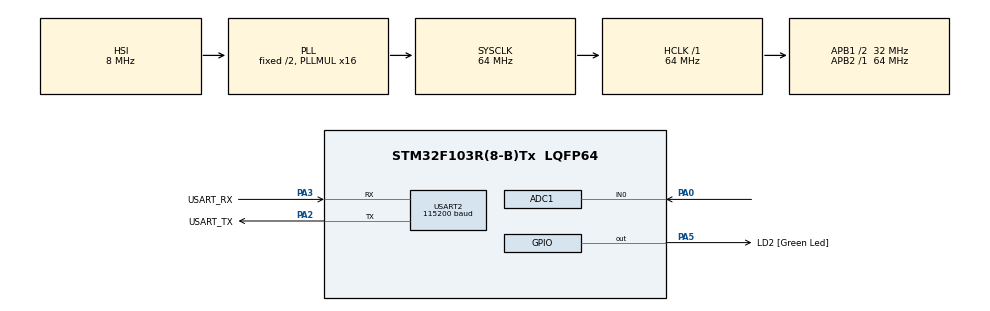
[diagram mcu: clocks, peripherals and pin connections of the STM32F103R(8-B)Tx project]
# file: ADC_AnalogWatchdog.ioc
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ADC1.AWDChannel=ADC_CHANNEL_0
ADC1.AnalogWDGITMode=ENABLE
ADC1.AnalogWatchdogMode=ADC_ANALOGWATCHDOG_SINGLE_REG
ADC1.Channel-0\#ChannelRegularConversion=ADC_CHANNEL_0
ADC1.ContinuousConvMode=ENABLE
ADC1.DiscontinuousConvMode=DISABLE
ADC1.ExternalTrigConv=ADC_SOFTWARE_START
ADC1.HighThreshold=3000
ADC1.LowThreshold=1000
ADC1.NbrOfConversion=1
ADC1.NbrOfConversionFlag=1
ADC1.Rank-0\#ChannelRegularConversion=1
ADC1.SamplingTime-0\#ChannelRegularConversion=ADC_SAMPLETIME_239CYCLES_5
ADC1.ScanConvMode=ADC_SCAN_DISABLE
ADC1.master=1
Dma.ADC1.0.Direction=DMA_PERIPH_TO_MEMORY
Dma.ADC1.0.Instance=DMA1_Channel1
Dma.ADC1.0.MemDataAlignment=DMA_MDATAALIGN_HALFWORD
Dma.ADC1.0.MemInc=DMA_MINC_DISABLE
Dma.ADC1.0.Mode=DMA_CIRCULAR
Dma.ADC1.0.PeriphDataAlignment=DMA_PDATAALIGN_HALFWORD
Dma.ADC1.0.PeriphInc=DMA_PINC_DISABLE
Dma.ADC1.0.Priority=DMA_PRIORITY_LOW
Dma.Request0=ADC1
Mcu.Family=STM32F1
Mcu.Name=STM32F103R(8-B)Tx
Mcu.Package=LQFP64
NVIC.ADC1_2_IRQn=true\:1\:0\:false\:false\:true\:true\:true\:true
NVIC.PriorityGroup=NVIC_PRIORITYGROUP_4
PA0-WKUP.Mode=IN0
PA0-WKUP.Signal=ADCx_IN0
PA13.GPIO_Label=TMS
PA13.Mode=Serial_Wire
PA13.Signal=SYS_JTMS-SWDIO
PA14.GPIO_Label=TCK
PA14.Mode=Serial_Wire
PA14.Signal=SYS_JTCK-SWCLK
PA2.GPIO_Label=USART_TX
PA2.GPIO_Mode=GPIO_MODE_AF_PP
PA2.GPIO_PuPd=GPIO_NOPULL
PA2.GPIO_Speed=GPIO_SPEED_FREQ_LOW
PA2.Mode=Asynchronous
PA2.Signal=USART2_TX
PA3.GPIO_Label=USART_RX
PA3.GPIO_PuPd=GPIO_NOPULL
PA3.GPIO_Speed=GPIO_SPEED_FREQ_LOW
PA3.Mode=Asynchronous
PA3.Signal=USART2_RX
PA5.GPIO_Label=LD2 [Green Led]
PA5.GPIO_ModeDefaultOutputPP=GPIO_MODE_OUTPUT_PP
PA5.GPIO_PuPd=GPIO_NOPULL
PA5.GPIO_Speed=GPIO_SPEED_FREQ_LOW
PA5.Signal=GPIO_Output
PB3.GPIO_Label=SWO
PB3.Signal=SYS_JTDO-TRACESWO
PC14-OSC32_IN.Mode=LSE-External-Oscillator
PC14-OSC32_IN.Signal=RCC_OSC32_IN
PC15-OSC32_OUT.Mode=LSE-External-Oscillator
PC15-OSC32_OUT.Signal=RCC_OSC32_OUT
PD0-OSC_IN.Mode=HSE-External-Clock-Source
PD0-OSC_IN.Signal=RCC_OSC_IN
PD1-OSC_OUT.Mode=HSE-External-Clock-Source
PD1-OSC_OUT.Signal=RCC_OSC_OUT
ProjectManager.HeapSize=0x200
ProjectManager.StackSize=0x400
ProjectManager.TargetToolchain=STM32CubeIDE
RCC.ADCPresc=RCC_ADCPCLK2_DIV6
RCC.AHBFreq_Value=64000000
RCC.APB1CLKDivider=RCC_HCLK_DIV2
RCC.APB1Freq_Value=32000000
RCC.APB1TimFreq_Value=64000000
RCC.APB2Freq_Value=64000000
RCC.APB2TimFreq_Value=64000000
RCC.HCLKFreq_Value=64000000
RCC.PLLMUL=RCC_PLL_MUL16
RCC.RTCClockSelection=RCC_RTCCLKSOURCE_LSE
RCC.SYSCLKFreq_VALUE=64000000
RCC.SYSCLKSource=RCC_SYSCLKSOURCE_PLLCLK
RCC.USBFreq_Value=64000000
SH.ADCx_IN0.0=ADC1_IN0,IN0
USART2.BaudRate=115200
USART2.VirtualMode=VM_ASYNC
board=NUCLEO-F103RB

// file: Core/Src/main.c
/* USER CODE BEGIN Header */
/**
 ******************************************************************************
 * @file           : main.c
 * @brief          : Main program body
 ******************************************************************************
 * @attention
 *
 * Copyright (c) 2026 STMicroelectronics.
 * All rights reserved.
 *
 * This software is licensed under terms that can be found in the LICENSE file
 * in the root directory of this software component.
 * If no LICENSE file comes with this software, it is provided AS-IS.
 *
 ******************************************************************************
 */
/**
 * 05_ADC_AnalogWatchdog_c  —  [계층: HAL]  ADC 아날로그 워치독(AWD): 전압이 창(window)을 벗어나면 하드웨어가 인터럽트
 *
 * 개념: ADC 가 변환을 끝낼 때마다 "결과 > 상한 또는 결과 < 하한"인지 하드웨어가 비교하고, 벗어나면 플래그/인터럽트를 낸다.
 *       CPU 가 값을 계속 읽어 비교하지 않아도 되므로 과전압/저전압/과전류 보호에 적합하다.
 *
 * 동작
 *   - PA0(A0) 의 전압을 연속 변환(DMA 로 최신값을 변수에 자동 저장). 창: 1000 ~ 3000 (약 0.81V ~ 2.42V @3.3V)
 *   - 창을 벗어나면 AWD 인터럽트 -> 콜백이 LD2 를 켜고 플래그 설정. 창 안으로 돌아오면 main 이 LD2 를 끄고 AWD 를 다시 무장.
 *   - 200ms 마다 현재 값과 상태를 UART(115200)로 출력.  가변저항으로 PA0 를 0~3.3V 로 돌리며 확인.
 *
 * 하드웨어 대응 (RM0008 11.3.7 Analog watchdog)
 *   ADC1->HTR / LTR : 상한/하한 임계값(12비트)
 *   ADC1->CR1.AWDEN(bit23) : 정규 채널 AWD 허용,  CR1.AWDSGL(bit9) : 단일 채널만 감시,  CR1.AWDCH : 감시 채널,  CR1.AWDIE(bit6) : AWD 인터럽트
 *   ADC1->SR.AWD(bit0) : 창을 벗어났음 플래그
 *   *** 창을 벗어난 상태에서는 "매 변환마다" AWD 가 다시 발생해 인터럽트가 폭주한다(초당 수만 회).
 *       그래서 콜백에서 AWD 인터럽트를 끄고, main 이 창 안으로 돌아온 것을 확인한 뒤 다시 켠다. ***
 *   ADC 클럭 = 64MHz/6 = 10.67MHz, 샘플 239.5 사이클 -> 약 42kSPS
 *
 * ISR vs 콜백
 *   ADC1_2_IRQHandler (stm32f1xx_it.c, 진짜 ISR) -> HAL_ADC_IRQHandler() -> HAL_ADC_LevelOutOfWindowCallback() (이 파일)
 *   (DMA 전송 완료 인터럽트는 NVIC 에서 허용하지 않아 ISR 부하가 없다)
 */
/* USER CODE END Header */
#include "main.h"

/* USER CODE BEGIN Includes */
#include <stdio.h>
#include <string.h>
/* USER CODE END Includes */

/* USER CODE BEGIN PD */
#define AWD_HIGH 3000U
#define AWD_LOW  1000U

/* USER CODE END PD */

ADC_HandleTypeDef hadc1;
DMA_HandleTypeDef hdma_adc1;
UART_HandleTypeDef huart2;

/* USER CODE BEGIN PV */
static volatile uint16_t adc_val;          /* DMA 가 계속 갱신하는 최신 변환값 */
static volatile uint8_t  awd_flag;
static volatile uint32_t awd_events;
/* USER CODE END PV */

void SystemClock_Config(void);
static void MX_GPIO_Init(void);
static void MX_DMA_Init(void);
static void MX_ADC1_Init(void);
static void MX_USART2_UART_Init(void);

int main(void)
{

  /* USER CODE BEGIN 1 */
  char msg[80];
  /* USER CODE END 1 */

  /* MCU Configuration--------------------------------------------------------*/

  /* Reset of all peripherals, Initializes the Flash interface and the Systick. */
  HAL_Init();

  /* Configure the system clock */
  SystemClock_Config();

  /* Initialize all configured peripherals */
  MX_GPIO_Init();
  MX_DMA_Init();
  MX_ADC1_Init();
  MX_USART2_UART_Init();
  /* USER CODE BEGIN 2 */
  HAL_ADCEx_Calibration_Start(&hadc1);                                                    /* ADC1->CR2.CAL */
  if (HAL_ADC_Start_DMA(&hadc1, (uint32_t *)&adc_val, 1) != HAL_OK) Error_Handler();   /* 1워드 원형 DMA: 항상 최신값 */
  /* USER CODE END 2 */

  /* Infinite loop */
  while (1)
  {

    /* USER CODE BEGIN 3 */
    HAL_Delay(200);
    uint16_t v = adc_val;
    int in_window = (v >= AWD_LOW && v <= AWD_HIGH);

    if (in_window && awd_flag)                       /* 창 안으로 복귀 -> 재무장 */
    {
      awd_flag = 0;
      HAL_GPIO_WritePin(LD2_GPIO_Port, LD2_Pin, GPIO_PIN_RESET);
      __HAL_ADC_CLEAR_FLAG(&hadc1, ADC_FLAG_AWD);  /* ADC1->SR.AWD = 0 */
      __HAL_ADC_ENABLE_IT(&hadc1, ADC_IT_AWD);     /* CR1.AWDIE = 1 */
    }

    int n = snprintf(msg, sizeof msg, "ADC=%4u (%4lu mV)  window[%u..%u]  %s  events=%lu\r\n",
                     v, (unsigned long)v * 3300UL / 4095UL, AWD_LOW, AWD_HIGH,
                     awd_flag ? "OUT-OF-WINDOW" : "ok", (unsigned long)awd_events);
    HAL_UART_Transmit(&huart2, (uint8_t *)msg, (uint16_t)n, 100);
  }
  /* USER CODE END 3 */
}

void SystemClock_Config(void)
{
  RCC_OscInitTypeDef RCC_OscInitStruct = {0};
  RCC_ClkInitTypeDef RCC_ClkInitStruct = {0};
  RCC_PeriphCLKInitTypeDef PeriphClkInit = {0};

  /** Initializes the RCC Oscillators according to the specified parameters
  * in the RCC_OscInitTypeDef structure.
  */
  RCC_OscInitStruct.OscillatorType = RCC_OSCILLATORTYPE_HSI;
  RCC_OscInitStruct.HSIState = RCC_HSI_ON;
  RCC_OscInitStruct.HSICalibrationValue = RCC_HSICALIBRATION_DEFAULT;
  RCC_OscInitStruct.PLL.PLLState = RCC_PLL_ON;
  RCC_OscInitStruct.PLL.PLLSource = RCC_PLLSOURCE_HSI_DIV2;
  RCC_OscInitStruct.PLL.PLLMUL = RCC_PLL_MUL16;
  if (HAL_RCC_OscConfig(&RCC_OscInitStruct) != HAL_OK)
  {
    Error_Handler();
  }

  /** Initializes the CPU, AHB and APB buses clocks
  */
  RCC_ClkInitStruct.ClockType = RCC_CLOCKTYPE_HCLK|RCC_CLOCKTYPE_SYSCLK
                              |RCC_CLOCKTYPE_PCLK1|RCC_CLOCKTYPE_PCLK2;
  RCC_ClkInitStruct.SYSCLKSource = RCC_SYSCLKSOURCE_PLLCLK;
  RCC_ClkInitStruct.AHBCLKDivider = RCC_SYSCLK_DIV1;
  RCC_ClkInitStruct.APB1CLKDivider = RCC_HCLK_DIV2;
  RCC_ClkInitStruct.APB2CLKDivider = RCC_HCLK_DIV1;

  if (HAL_RCC_ClockConfig(&RCC_ClkInitStruct, FLASH_LATENCY_2) != HAL_OK)
  {
    Error_Handler();
  }

  PeriphClkInit.PeriphClockSelection = RCC_PERIPHCLK_ADC;
  PeriphClkInit.AdcClockSelection = RCC_ADCPCLK2_DIV6;
  if (HAL_RCCEx_PeriphCLKConfig(&PeriphClkInit) != HAL_OK)
  {
    Error_Handler();
  }
}

static void MX_ADC1_Init(void)
{

  ADC_AnalogWDGConfTypeDef AnalogWDGConfig = {0};
  ADC_ChannelConfTypeDef sConfig = {0};

  /** Common config
  */
  hadc1.Instance = ADC1;
  hadc1.Init.ScanConvMode = ADC_SCAN_DISABLE;
  hadc1.Init.ContinuousConvMode = ENABLE;
  hadc1.Init.DiscontinuousConvMode = DISABLE;
  hadc1.Init.ExternalTrigConv = ADC_SOFTWARE_START;
  hadc1.Init.DataAlign = ADC_DATAALIGN_RIGHT;
  hadc1.Init.NbrOfConversion = 1;
  if (HAL_ADC_Init(&hadc1) != HAL_OK)
  {
    Error_Handler();
  }

  /** Configure the analog watchdog
  */
  AnalogWDGConfig.WatchdogMode = ADC_ANALOGWATCHDOG_SINGLE_REG;
  AnalogWDGConfig.HighThreshold = 3000;
  AnalogWDGConfig.LowThreshold = 1000;
  AnalogWDGConfig.Channel = ADC_CHANNEL_0;
  AnalogWDGConfig.ITMode = ENABLE;
  if (HAL_ADC_AnalogWDGConfig(&hadc1, &AnalogWDGConfig) != HAL_OK)
  {
    Error_Handler();
  }

  /** Configure Regular Channel
  */
  sConfig.Channel = ADC_CHANNEL_0;
  sConfig.Rank = ADC_REGULAR_RANK_1;
  sConfig.SamplingTime = ADC_SAMPLETIME_239CYCLES_5;
  if (HAL_ADC_ConfigChannel(&hadc1, &sConfig) != HAL_OK)
  {
    Error_Handler();
  }
  /* USER CODE BEGIN ADC1_Init 2 */
  /* ADC1->CR2.CONT = 1 (연속 변환), 샘플 239.5 사이클 (SMPR2), SQR3.SQ1 = CH0
   * 아날로그 워치독: ADC1->CR1.AWDEN = 1, AWDSGL = 1, AWDCH = 0 (CH0), AWDIE = 1 (HAL_ADC_AnalogWDGConfig)
   *                  ADC1->HTR = 3000 (상한), ADC1->LTR = 1000 (하한). 창 이탈 시 ADC1->SR.AWD(bit0) 가 선다.
   * ADC 클럭 prescaler (RCC->CFGR.ADCPRE, 64/6 = 10.67MHz) 는 SystemClock_Config() 에서 설정된다. */
  /* USER CODE END ADC1_Init 2 */

}

static void MX_USART2_UART_Init(void)
{

  huart2.Instance = USART2;
  huart2.Init.BaudRate = 115200;
  huart2.Init.WordLength = UART_WORDLENGTH_8B;
  huart2.Init.StopBits = UART_STOPBITS_1;
  huart2.Init.Parity = UART_PARITY_NONE;
  huart2.Init.Mode = UART_MODE_TX_RX;
  huart2.Init.HwFlowCtl = UART_HWCONTROL_NONE;
  huart2.Init.OverSampling = UART_OVERSAMPLING_16;
  if (HAL_UART_Init(&huart2) != HAL_OK)
  {
    Error_Handler();
  }

}

static void MX_DMA_Init(void)
{

  /* DMA controller clock enable */
  __HAL_RCC_DMA1_CLK_ENABLE();

}

static void MX_GPIO_Init(void)
{
  GPIO_InitTypeDef GPIO_InitStruct = {0};

  /* GPIO Ports Clock Enable */
  __HAL_RCC_GPIOC_CLK_ENABLE();
  __HAL_RCC_GPIOD_CLK_ENABLE();
  __HAL_RCC_GPIOA_CLK_ENABLE();
  __HAL_RCC_GPIOB_CLK_ENABLE();

  /*Configure GPIO pin Output Level */
  HAL_GPIO_WritePin(LD2_GPIO_Port, LD2_Pin, GPIO_PIN_RESET);

  /*Configure GPIO pin : LD2_Pin */
  GPIO_InitStruct.Pin = LD2_Pin;
  GPIO_InitStruct.Mode = GPIO_MODE_OUTPUT_PP;
  GPIO_InitStruct.Pull = GPIO_NOPULL;
  GPIO_InitStruct.Speed = GPIO_SPEED_FREQ_LOW;
  HAL_GPIO_Init(LD2_GPIO_Port, &GPIO_InitStruct);

}

/* USER CODE BEGIN 4 */
/* ------------------------------------------------------------------------- */
/* HAL 콜백 (ISR 문맥): 변환값이 창을 벗어났을 때 (SR.AWD)                        */
/* ------------------------------------------------------------------------- */
void HAL_ADC_LevelOutOfWindowCallback(ADC_HandleTypeDef *hadc)
{
    if (hadc->Instance != ADC1) return;
    awd_flag = 1;
    awd_events++;
    HAL_GPIO_WritePin(LD2_GPIO_Port, LD2_Pin, GPIO_PIN_SET);   /* 즉시 경고 표시 */
    __HAL_ADC_DISABLE_IT(hadc, ADC_IT_AWD);               /* 인터럽트 폭주 방지: main 이 복귀를 확인한 뒤 재활성화 (CR1.AWDIE = 0) */
}
/* USER CODE END 4 */

void Error_Handler(void)
{
  __disable_irq();
  while (1) {
  }
}
#ifdef USE_FULL_ASSERT
/**
  * @brief  Reports the name of the source file and the source line number
  *         where the assert_param error has occurred.
  * @param  file: pointer to the source file name
  * @param  line: assert_param error line source number
  * @retval None
  */
void assert_failed(uint8_t *file, uint32_t line)
{
  /* USER CODE BEGIN 6 */
  /* User can add his own implementation to report the file name and line
     number, ex: printf("Wrong parameters value: file %s on line %d\r\n", file,
     line) */
  /* USER CODE END 6 */
}
#endif /* USE_FULL_ASSERT */
